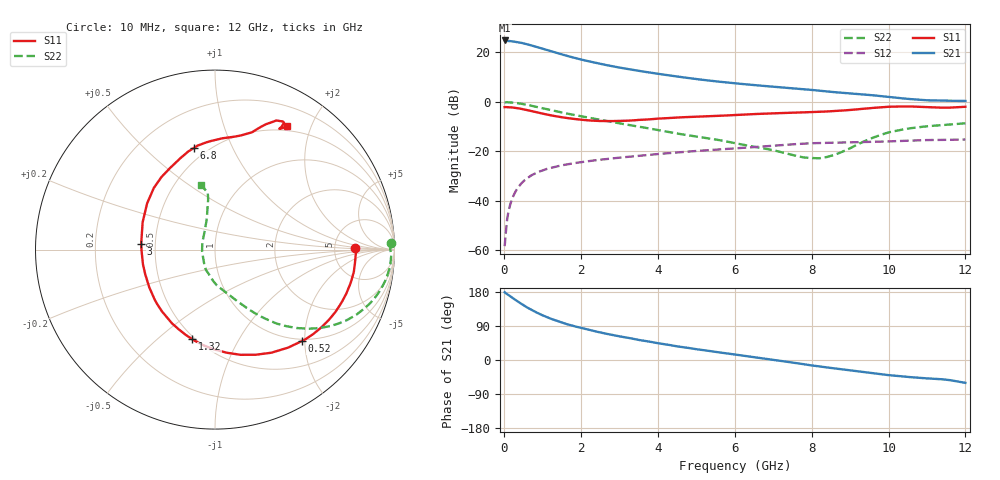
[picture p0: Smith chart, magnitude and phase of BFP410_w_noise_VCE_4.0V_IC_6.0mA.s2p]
! Infineon Technologies  Discrete & RF Semiconductors
! BFP410
! VCE =  4.0 V,  IC =  6.0 mA
! Common Emitter S-Parameters:  Nov 2015
# GHz  S  MA  R  50
!  f  S11  S21  S12  S22
! GHz  MAG  ANG  MAG  ANG  MAG  ANG  MAG  ANG
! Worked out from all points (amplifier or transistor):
!   243 points, 10 MHz to 12 GHz, reference 50 ohm
!   highest |S21| = 24.9 dB at 10 MHz (marker M1)
!   |S21| within 3 dB of that: start of sweep to 925 MHz
!   unconditionally stable (mu >= 1): start of sweep to 10.98 MHz; 2.919 GHz to end of sweep
!   at 240 MHz: K = 0.16, MSG = 31.2 dB, |S12| = -38.0 dB
!   at 1.84 GHz: K = 0.69, MSG = 21.3 dB, |S12| = -24.8 dB
!   at 12 GHz: K = 1.06, MAG = 6.3 dB, |S12| = -15.2 dB
!   lowest NFmin = 1.06 dB at 900 MHz
!   S11 on the Smith chart (normalised r, x): 10 MHz: 8.16, +0.46; 520 MHz: 0.96, -1.93; 1.32 GHz: 0.48, -0.66; 3 GHz: 0.42, +0.03; 6.8 GHz: 0.42, +0.72; 12 GHz: 0.44, +1.65
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0.01  0.7824 0.8  17.5 178.9  0.0012 29.2  0.9834 2.0
0.05  0.784 -4.2  17.17 175.5  0.0027 71.4  0.9828 -1.6
0.1  0.7834 -9.1  17.14 172.3  0.0055 78.8  0.9811 -4.3
0.2  0.7715 -18.5  16.87 165.1  0.0106 77.5  0.9698 -8.8
0.3  0.7552 -27.5  16.45 158.0  0.0156 74.6  0.951 -13.1
0.4  0.7338 -36.3  15.92 151.2  0.0203 71.1  0.9274 -17.2
0.52  0.7023 -46.6  15.16 143.5  0.0255 67.2  0.893 -21.7
0.7  0.6549 -61.3  13.95 132.8  0.0323 61.8  0.8367 -27.8
0.9  0.6034 -76.3  12.56 122.4  0.0385 56.7  0.7727 -33.4
1.1  0.5571 -90.2  11.27 113.5  0.0437 52.7  0.7113 -38.1
1.32  0.515 -104.3  10.01 104.9  0.0485 49.1  0.6513 -42.3
1.62  0.4726 -121.3  8.591 94.9  0.054 45.4  0.582 -47.1
2.02  0.4345 -141.3  7.14 84.0  0.0605 41.7  0.5085 -51.8
2.5  0.4102 -163.8  5.891 72.7  0.0674 38.1  0.4322 -56.9
3  0.4125 175.9  4.941 62.4  0.0743 35.0  0.3668 -61.7
4.1  0.4615 143.4  3.607 42.8  0.0893 28.9  0.2605 -73.2
5  0.5026 126.4  2.893 28.5  0.1014 23.5  0.1989 -87.2
6.1  0.5455 110.5  2.337 13.1  0.1156 16.9  0.1408 -104.1
6.8  0.5784 101.8  2.089 3.3  0.1264 12.5  0.1122 -119.6
8.2  0.6296 83.0  1.683 -16.9  0.1469 -0.0  0.0721 173.2
10.2  0.8018 63.3  1.215 -41.8  0.1605 -14.4  0.2599 98.9
12  0.7956 59.7  1.044 -60.3  0.1732 -29.5  0.3687 102.6
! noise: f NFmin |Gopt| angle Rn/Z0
0.45  1.09  0.2  1  0.22
0.9  1.06  0.19  15  0.18
1.8  1.21  0.13  52  0.16
2.4  1.21  0.11  50  0.19
5.5  2.12  0.32  -125  0.21
10  3.36  0.67  -51  1.79
